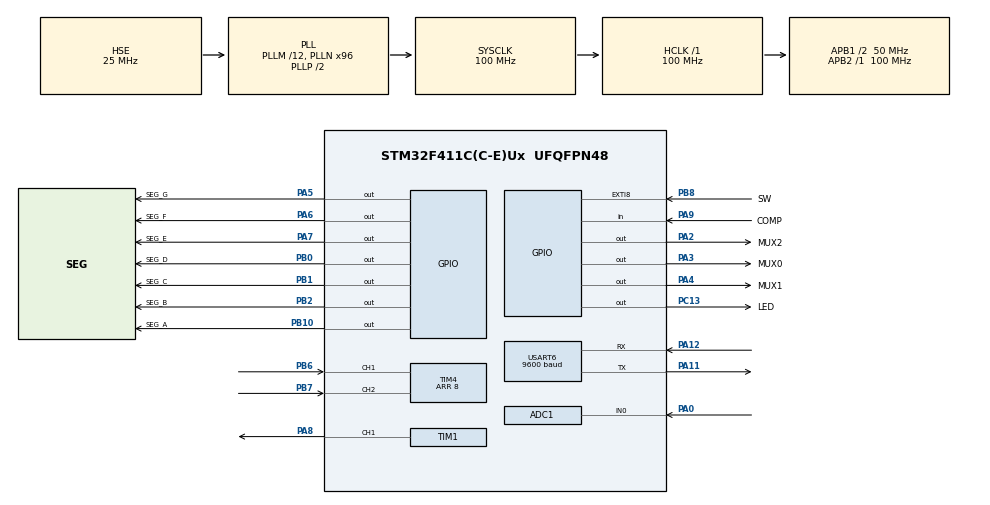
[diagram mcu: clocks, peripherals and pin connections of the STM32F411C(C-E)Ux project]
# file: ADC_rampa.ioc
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ADC1.NbrOfConversion=1
ADC1.NbrOfConversionFlag=1
ADC1.Resolution=ADC_RESOLUTION_8B
ADC1.master=1
Mcu.Family=STM32F4
Mcu.Name=STM32F411C(C-E)Ux
Mcu.Package=UFQFPN48
NVIC.EXTI9_5_IRQn=true\:0\:0\:false\:false\:true\:true\:true\:true
NVIC.PriorityGroup=NVIC_PRIORITYGROUP_4
NVIC.TIM1_TRG_COM_TIM11_IRQn=true\:0\:0\:false\:false\:true\:true\:true\:true
NVIC.TIM3_IRQn=true\:0\:0\:false\:false\:true\:true\:true\:true
PA0-WKUP.Signal=ADCx_IN0
PA11.Mode=Asynchronous
PA11.Signal=USART6_TX
PA12.Mode=Asynchronous
PA12.Signal=USART6_RX
PA13.Mode=Serial_Wire
PA13.Signal=SYS_JTMS-SWDIO
PA14.Mode=Serial_Wire
PA14.Signal=SYS_JTCK-SWCLK
PA2.GPIO_Label=MUX2
PA2.Signal=GPIO_Output
PA3.GPIO_Label=MUX0
PA3.Signal=GPIO_Output
PA4.GPIO_Label=MUX1
PA4.Signal=GPIO_Output
PA5.GPIO_Label=SEG_G
PA5.Signal=GPIO_Output
PA6.GPIO_Label=SEG_F
PA6.Signal=GPIO_Output
PA7.GPIO_Label=SEG_E
PA7.Signal=GPIO_Output
PA8.Signal=S_TIM1_CH1
PA9.GPIO_Label=COMP
PA9.Signal=GPIO_Input
PB0.GPIO_Label=SEG_D
PB0.Signal=GPIO_Output
PB1.GPIO_Label=SEG_C
PB1.Signal=GPIO_Output
PB10.GPIO_Label=SEG_A
PB10.Signal=GPIO_Output
PB2.GPIO_Label=SEG_B
PB2.Signal=GPIO_Output
PB6.Signal=S_TIM4_CH1
PB7.Signal=S_TIM4_CH2
PB8.GPIO_Label=SW
PB8.Signal=GPXTI8
PC13-ANTI_TAMP.GPIO_Label=LED
PC13-ANTI_TAMP.Signal=GPIO_Output
PH0\ -\ OSC_IN.Mode=HSE-External-Oscillator
PH0\ -\ OSC_IN.Signal=RCC_OSC_IN
PH1\ -\ OSC_OUT.Mode=HSE-External-Oscillator
PH1\ -\ OSC_OUT.Signal=RCC_OSC_OUT
ProjectManager.HeapSize=0x200
ProjectManager.StackSize=0x400
ProjectManager.TargetToolchain=STM32CubeIDE
RCC.48MHZClocksFreq_Value=50000000
RCC.AHBFreq_Value=100000000
RCC.APB1CLKDivider=RCC_HCLK_DIV2
RCC.APB1Freq_Value=50000000
RCC.APB1TimFreq_Value=100000000
RCC.APB2Freq_Value=100000000
RCC.APB2TimFreq_Value=100000000
RCC.CortexFreq_Value=100000000
RCC.HCLKFreq_Value=100000000
RCC.HSE_VALUE=25000000
RCC.HSI_VALUE=16000000
RCC.LSE_VALUE=32768
RCC.PLLM=12
RCC.PLLN=96
RCC.PLLSourceVirtual=RCC_PLLSOURCE_HSE
RCC.SYSCLKFreq_VALUE=100000000
RCC.SYSCLKSource=RCC_SYSCLKSOURCE_PLLCLK
RCC.VCOOutputFreq_Value=200000000
SH.ADCx_IN0.0=ADC1_IN0,IN0
SH.S_TIM1_CH1.0=TIM1_CH1,PWM Generation1 CH1
SH.S_TIM4_CH1.0=TIM4_CH1,Encoder_Interface
SH.S_TIM4_CH2.0=TIM4_CH2,Encoder_Interface
TIM1.AutoReloadPreload=TIM_AUTORELOAD_PRELOAD_ENABLE
TIM1.Channel-PWM\ Generation1\ CH1=TIM_CHANNEL_1
TIM1.Period=254-1
TIM1.Prescaler=100-1
TIM2.Period=0xffff-1
TIM2.Prescaler=100-1
TIM3.Period=19+1
TIM3.Prescaler=49999+1
TIM4.EncoderMode=TIM_ENCODERMODE_TI12
TIM4.IC1Filter=10
TIM4.IC2Filter=10
TIM4.Period=8
USART6.BaudRate=9600
USART6.Mode=MODE_TX
USART6.VirtualMode=VM_ASYNC
VP_TIM1_VS_ClockSourceINT.Mode=Internal
VP_TIM2_VS_ClockSourceINT.Mode=Internal
VP_TIM3_VS_ClockSourceINT.Mode=Internal
board=custom

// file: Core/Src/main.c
/* USER CODE BEGIN Header */
/**
  ******************************************************************************
  * @file           : main.c
  * @brief          : Main program body
  ******************************************************************************
  * @attention
  *
  * Copyright (c) 2024 STMicroelectronics.
  * All rights reserved.
  *
  * This software is licensed under terms that can be found in the LICENSE file
  * in the root directory of this software component.
  * If no LICENSE file comes with this software, it is provided AS-IS.
  *
  ******************************************************************************
  */
/* USER CODE END Header */
#include "main.h"

/* USER CODE BEGIN Includes */
#include <stdio.h>
#include <string.h>

#include "Seg7_mux.h"
#include "stdbool.h"
/* USER CODE END Includes */

ADC_HandleTypeDef hadc1;

TIM_HandleTypeDef htim1;
TIM_HandleTypeDef htim2;
TIM_HandleTypeDef htim3;
TIM_HandleTypeDef htim4;

UART_HandleTypeDef huart6;

void SystemClock_Config(void);
static void MX_GPIO_Init(void);
static void MX_TIM1_Init(void);
static void MX_TIM4_Init(void);
static void MX_USART6_UART_Init(void);
static void MX_TIM2_Init(void);
static void MX_TIM3_Init(void);
static void MX_ADC1_Init(void);
/* USER CODE BEGIN PFP */
uint8_t convert(); //Realiza el algoritmo de ADC SAR
uint8_t represent(uint8_t num); //consigue la representacion decimal
void delay_us(uint16_t us); //delay por us
/* USER CODE END PFP */

/* USER CODE BEGIN 0 */

/*
 * Bandera de interrupcion para el
 * modo interrupcion del adc
 */
bool flag = false;
//valor leido del adc
uint8_t adc_sar = 0;
/* USER CODE END 0 */

int main(void)
{

  /* MCU Configuration--------------------------------------------------------*/

  /* Reset of all peripherals, Initializes the Flash interface and the Systick. */
  HAL_Init();

  /* Configure the system clock */
  SystemClock_Config();

  /* Initialize all configured peripherals */
  MX_GPIO_Init();
  MX_TIM1_Init();
  MX_TIM4_Init();
  MX_USART6_UART_Init();
  MX_TIM2_Init();
  MX_TIM3_Init();
  MX_ADC1_Init();
  /* USER CODE BEGIN 2 */

  //Contador del encoder
  uint8_t count = 0;
  //valor real del dac del mcu
  uint8_t adc_real = 0;
  //valor medido en 8bits del adc implementado
  uint8_t adc_med = 0;
  //mag por uart
  char msg[10] = {0};

  //incializamos el pwm
  HAL_TIM_PWM_Start(&htim1, TIM_CHANNEL_1);
  //incializamos el encoder
  HAL_TIM_Encoder_Start(&htim4, TIM_CHANNEL_ALL);
  //Inicializamos el timer para el delay de us
  HAL_TIM_Base_Start(&htim2);
  //Inicializacion de timer con interrupcion
  HAL_TIM_Base_Start_IT(&htim3);

  /* USER CODE END 2 */

  /* Infinite loop */
  while (1)
  {

    /* USER CODE BEGIN 3 */

	show_num(adc_sar);

	count = TIM4->CNT/4;

	//Estados del adc
	switch (count) {
		case 0://Modo continuo

			HAL_GPIO_WritePin(LED_GPIO_Port,LED_Pin,SET);
			adc_med = convert();
			adc_sar = represent(adc_med);

			HAL_ADC_Start(&hadc1);
			if(HAL_ADC_PollForConversion(&hadc1, 100) == HAL_OK){
				adc_real = HAL_ADC_GetValue(&hadc1);//adc del micro
				sprintf(msg,"%d %d\r\n",adc_real,adc_med);
				HAL_UART_Transmit(&huart6,(uint8_t*)msg, 10, 100);
			}

			break;
		case 1://Modo por interrupcion

			HAL_GPIO_WritePin(LED_GPIO_Port,LED_Pin,RESET);
			if (flag) {
				adc_med = convert();
				adc_sar = represent(adc_med);
				HAL_ADC_Start(&hadc1);
				if(HAL_ADC_PollForConversion(&hadc1, 100) == HAL_OK){
					adc_real = HAL_ADC_GetValue(&hadc1);//adc del micro
					sprintf(msg,"%d %d\r\n",adc_real,adc_med);
					HAL_UART_Transmit(&huart6,(uint8_t*)msg, 10, 100);
				}

				flag = false;
			}

			break;
		case 2://idle No chambea

			adc_sar = 99;

			break;
		default:
			break;
	}

  }
  /* USER CODE END 3 */
}

void SystemClock_Config(void)
{
  RCC_OscInitTypeDef RCC_OscInitStruct = {0};
  RCC_ClkInitTypeDef RCC_ClkInitStruct = {0};

  /** Configure the main internal regulator output voltage
  */
  __HAL_RCC_PWR_CLK_ENABLE();
  __HAL_PWR_VOLTAGESCALING_CONFIG(PWR_REGULATOR_VOLTAGE_SCALE1);

  /** Initializes the RCC Oscillators according to the specified parameters
  * in the RCC_OscInitTypeDef structure.
  */
  RCC_OscInitStruct.OscillatorType = RCC_OSCILLATORTYPE_HSE;
  RCC_OscInitStruct.HSEState = RCC_HSE_ON;
  RCC_OscInitStruct.PLL.PLLState = RCC_PLL_ON;
  RCC_OscInitStruct.PLL.PLLSource = RCC_PLLSOURCE_HSE;
  RCC_OscInitStruct.PLL.PLLM = 12;
  RCC_OscInitStruct.PLL.PLLN = 96;
  RCC_OscInitStruct.PLL.PLLP = RCC_PLLP_DIV2;
  RCC_OscInitStruct.PLL.PLLQ = 4;
  if (HAL_RCC_OscConfig(&RCC_OscInitStruct) != HAL_OK)
  {
    Error_Handler();
  }

  /** Initializes the CPU, AHB and APB buses clocks
  */
  RCC_ClkInitStruct.ClockType = RCC_CLOCKTYPE_HCLK|RCC_CLOCKTYPE_SYSCLK
                              |RCC_CLOCKTYPE_PCLK1|RCC_CLOCKTYPE_PCLK2;
  RCC_ClkInitStruct.SYSCLKSource = RCC_SYSCLKSOURCE_PLLCLK;
  RCC_ClkInitStruct.AHBCLKDivider = RCC_SYSCLK_DIV1;
  RCC_ClkInitStruct.APB1CLKDivider = RCC_HCLK_DIV2;
  RCC_ClkInitStruct.APB2CLKDivider = RCC_HCLK_DIV1;

  if (HAL_RCC_ClockConfig(&RCC_ClkInitStruct, FLASH_LATENCY_3) != HAL_OK)
  {
    Error_Handler();
  }
}

static void MX_ADC1_Init(void)
{

  ADC_ChannelConfTypeDef sConfig = {0};

  /** Configure the global features of the ADC (Clock, Resolution, Data Alignment and number of conversion)
  */
  hadc1.Instance = ADC1;
  hadc1.Init.ClockPrescaler = ADC_CLOCK_SYNC_PCLK_DIV4;
  hadc1.Init.Resolution = ADC_RESOLUTION_8B;
  hadc1.Init.ScanConvMode = DISABLE;
  hadc1.Init.ContinuousConvMode = DISABLE;
  hadc1.Init.DiscontinuousConvMode = DISABLE;
  hadc1.Init.ExternalTrigConvEdge = ADC_EXTERNALTRIGCONVEDGE_NONE;
  hadc1.Init.ExternalTrigConv = ADC_SOFTWARE_START;
  hadc1.Init.DataAlign = ADC_DATAALIGN_RIGHT;
  hadc1.Init.NbrOfConversion = 1;
  hadc1.Init.DMAContinuousRequests = DISABLE;
  hadc1.Init.EOCSelection = ADC_EOC_SINGLE_CONV;
  if (HAL_ADC_Init(&hadc1) != HAL_OK)
  {
    Error_Handler();
  }

  /** Configure for the selected ADC regular channel its corresponding rank in the sequencer and its sample time.
  */
  sConfig.Channel = ADC_CHANNEL_0;
  sConfig.Rank = 1;
  sConfig.SamplingTime = ADC_SAMPLETIME_3CYCLES;
  if (HAL_ADC_ConfigChannel(&hadc1, &sConfig) != HAL_OK)
  {
    Error_Handler();
  }

}

static void MX_TIM1_Init(void)
{

  TIM_ClockConfigTypeDef sClockSourceConfig = {0};
  TIM_MasterConfigTypeDef sMasterConfig = {0};
  TIM_OC_InitTypeDef sConfigOC = {0};
  TIM_BreakDeadTimeConfigTypeDef sBreakDeadTimeConfig = {0};

  htim1.Instance = TIM1;
  htim1.Init.Prescaler = 100-1;
  htim1.Init.CounterMode = TIM_COUNTERMODE_UP;
  htim1.Init.Period = 254-1;
  htim1.Init.ClockDivision = TIM_CLOCKDIVISION_DIV1;
  htim1.Init.RepetitionCounter = 0;
  htim1.Init.AutoReloadPreload = TIM_AUTORELOAD_PRELOAD_ENABLE;
  if (HAL_TIM_Base_Init(&htim1) != HAL_OK)
  {
    Error_Handler();
  }
  sClockSourceConfig.ClockSource = TIM_CLOCKSOURCE_INTERNAL;
  if (HAL_TIM_ConfigClockSource(&htim1, &sClockSourceConfig) != HAL_OK)
  {
    Error_Handler();
  }
  if (HAL_TIM_PWM_Init(&htim1) != HAL_OK)
  {
    Error_Handler();
  }
  sMasterConfig.MasterOutputTrigger = TIM_TRGO_RESET;
  sMasterConfig.MasterSlaveMode = TIM_MASTERSLAVEMODE_DISABLE;
  if (HAL_TIMEx_MasterConfigSynchronization(&htim1, &sMasterConfig) != HAL_OK)
  {
    Error_Handler();
  }
  sConfigOC.OCMode = TIM_OCMODE_PWM1;
  sConfigOC.Pulse = 0;
  sConfigOC.OCPolarity = TIM_OCPOLARITY_HIGH;
  sConfigOC.OCNPolarity = TIM_OCNPOLARITY_HIGH;
  sConfigOC.OCFastMode = TIM_OCFAST_DISABLE;
  sConfigOC.OCIdleState = TIM_OCIDLESTATE_RESET;
  sConfigOC.OCNIdleState = TIM_OCNIDLESTATE_RESET;
  if (HAL_TIM_PWM_ConfigChannel(&htim1, &sConfigOC, TIM_CHANNEL_1) != HAL_OK)
  {
    Error_Handler();
  }
  sBreakDeadTimeConfig.OffStateRunMode = TIM_OSSR_DISABLE;
  sBreakDeadTimeConfig.OffStateIDLEMode = TIM_OSSI_DISABLE;
  sBreakDeadTimeConfig.LockLevel = TIM_LOCKLEVEL_OFF;
  sBreakDeadTimeConfig.DeadTime = 0;
  sBreakDeadTimeConfig.BreakState = TIM_BREAK_DISABLE;
  sBreakDeadTimeConfig.BreakPolarity = TIM_BREAKPOLARITY_HIGH;
  sBreakDeadTimeConfig.AutomaticOutput = TIM_AUTOMATICOUTPUT_DISABLE;
  if (HAL_TIMEx_ConfigBreakDeadTime(&htim1, &sBreakDeadTimeConfig) != HAL_OK)
  {
    Error_Handler();
  }
  HAL_TIM_MspPostInit(&htim1);

}

static void MX_TIM2_Init(void)
{

  TIM_ClockConfigTypeDef sClockSourceConfig = {0};
  TIM_MasterConfigTypeDef sMasterConfig = {0};

  htim2.Instance = TIM2;
  htim2.Init.Prescaler = 100-1;
  htim2.Init.CounterMode = TIM_COUNTERMODE_UP;
  htim2.Init.Period = 0xffff-1;
  htim2.Init.ClockDivision = TIM_CLOCKDIVISION_DIV1;
  htim2.Init.AutoReloadPreload = TIM_AUTORELOAD_PRELOAD_DISABLE;
  if (HAL_TIM_Base_Init(&htim2) != HAL_OK)
  {
    Error_Handler();
  }
  sClockSourceConfig.ClockSource = TIM_CLOCKSOURCE_INTERNAL;
  if (HAL_TIM_ConfigClockSource(&htim2, &sClockSourceConfig) != HAL_OK)
  {
    Error_Handler();
  }
  sMasterConfig.MasterOutputTrigger = TIM_TRGO_RESET;
  sMasterConfig.MasterSlaveMode = TIM_MASTERSLAVEMODE_DISABLE;
  if (HAL_TIMEx_MasterConfigSynchronization(&htim2, &sMasterConfig) != HAL_OK)
  {
    Error_Handler();
  }

}

static void MX_TIM3_Init(void)
{

  TIM_ClockConfigTypeDef sClockSourceConfig = {0};
  TIM_MasterConfigTypeDef sMasterConfig = {0};

  htim3.Instance = TIM3;
  htim3.Init.Prescaler = 49999+1;
  htim3.Init.CounterMode = TIM_COUNTERMODE_UP;
  htim3.Init.Period = 19+1;
  htim3.Init.ClockDivision = TIM_CLOCKDIVISION_DIV1;
  htim3.Init.AutoReloadPreload = TIM_AUTORELOAD_PRELOAD_DISABLE;
  if (HAL_TIM_Base_Init(&htim3) != HAL_OK)
  {
    Error_Handler();
  }
  sClockSourceConfig.ClockSource = TIM_CLOCKSOURCE_INTERNAL;
  if (HAL_TIM_ConfigClockSource(&htim3, &sClockSourceConfig) != HAL_OK)
  {
    Error_Handler();
  }
  sMasterConfig.MasterOutputTrigger = TIM_TRGO_RESET;
  sMasterConfig.MasterSlaveMode = TIM_MASTERSLAVEMODE_DISABLE;
  if (HAL_TIMEx_MasterConfigSynchronization(&htim3, &sMasterConfig) != HAL_OK)
  {
    Error_Handler();
  }

}

static void MX_TIM4_Init(void)
{

  TIM_Encoder_InitTypeDef sConfig = {0};
  TIM_MasterConfigTypeDef sMasterConfig = {0};

  htim4.Instance = TIM4;
  htim4.Init.Prescaler = 0;
  htim4.Init.CounterMode = TIM_COUNTERMODE_UP;
  htim4.Init.Period = 8;
  htim4.Init.ClockDivision = TIM_CLOCKDIVISION_DIV1;
  htim4.Init.AutoReloadPreload = TIM_AUTORELOAD_PRELOAD_DISABLE;
  sConfig.EncoderMode = TIM_ENCODERMODE_TI12;
  sConfig.IC1Polarity = TIM_ICPOLARITY_RISING;
  sConfig.IC1Selection = TIM_ICSELECTION_DIRECTTI;
  sConfig.IC1Prescaler = TIM_ICPSC_DIV1;
  sConfig.IC1Filter = 10;
  sConfig.IC2Polarity = TIM_ICPOLARITY_RISING;
  sConfig.IC2Selection = TIM_ICSELECTION_DIRECTTI;
  sConfig.IC2Prescaler = TIM_ICPSC_DIV1;
  sConfig.IC2Filter = 10;
  if (HAL_TIM_Encoder_Init(&htim4, &sConfig) != HAL_OK)
  {
    Error_Handler();
  }
  sMasterConfig.MasterOutputTrigger = TIM_TRGO_RESET;
  sMasterConfig.MasterSlaveMode = TIM_MASTERSLAVEMODE_DISABLE;
  if (HAL_TIMEx_MasterConfigSynchronization(&htim4, &sMasterConfig) != HAL_OK)
  {
    Error_Handler();
  }

}

static void MX_USART6_UART_Init(void)
{

  huart6.Instance = USART6;
  huart6.Init.BaudRate = 9600;
  huart6.Init.WordLength = UART_WORDLENGTH_8B;
  huart6.Init.StopBits = UART_STOPBITS_1;
  huart6.Init.Parity = UART_PARITY_NONE;
  huart6.Init.Mode = UART_MODE_TX;
  huart6.Init.HwFlowCtl = UART_HWCONTROL_NONE;
  huart6.Init.OverSampling = UART_OVERSAMPLING_16;
  if (HAL_UART_Init(&huart6) != HAL_OK)
  {
    Error_Handler();
  }

}

static void MX_GPIO_Init(void)
{
  GPIO_InitTypeDef GPIO_InitStruct = {0};

  /* GPIO Ports Clock Enable */
  __HAL_RCC_GPIOC_CLK_ENABLE();
  __HAL_RCC_GPIOH_CLK_ENABLE();
  __HAL_RCC_GPIOA_CLK_ENABLE();
  __HAL_RCC_GPIOB_CLK_ENABLE();

  /*Configure GPIO pin Output Level */
  HAL_GPIO_WritePin(LED_GPIO_Port, LED_Pin, GPIO_PIN_RESET);

  /*Configure GPIO pin Output Level */
  HAL_GPIO_WritePin(GPIOA, MUX2_Pin|MUX0_Pin|MUX1_Pin|SEG_G_Pin
                          |SEG_F_Pin|SEG_E_Pin, GPIO_PIN_RESET);

  /*Configure GPIO pin Output Level */
  HAL_GPIO_WritePin(GPIOB, SEG_D_Pin|SEG_C_Pin|SEG_B_Pin|SEG_A_Pin, GPIO_PIN_RESET);

  /*Configure GPIO pin : LED_Pin */
  GPIO_InitStruct.Pin = LED_Pin;
  GPIO_InitStruct.Mode = GPIO_MODE_OUTPUT_PP;
  GPIO_InitStruct.Pull = GPIO_NOPULL;
  GPIO_InitStruct.Speed = GPIO_SPEED_FREQ_LOW;
  HAL_GPIO_Init(LED_GPIO_Port, &GPIO_InitStruct);

  /*Configure GPIO pins : MUX2_Pin MUX0_Pin MUX1_Pin SEG_G_Pin
                           SEG_F_Pin SEG_E_Pin */
  GPIO_InitStruct.Pin = MUX2_Pin|MUX0_Pin|MUX1_Pin|SEG_G_Pin
                          |SEG_F_Pin|SEG_E_Pin;
  GPIO_InitStruct.Mode = GPIO_MODE_OUTPUT_PP;
  GPIO_InitStruct.Pull = GPIO_NOPULL;
  GPIO_InitStruct.Speed = GPIO_SPEED_FREQ_LOW;
  HAL_GPIO_Init(GPIOA, &GPIO_InitStruct);

  /*Configure GPIO pins : SEG_D_Pin SEG_C_Pin SEG_B_Pin SEG_A_Pin */
  GPIO_InitStruct.Pin = SEG_D_Pin|SEG_C_Pin|SEG_B_Pin|SEG_A_Pin;
  GPIO_InitStruct.Mode = GPIO_MODE_OUTPUT_PP;
  GPIO_InitStruct.Pull = GPIO_NOPULL;
  GPIO_InitStruct.Speed = GPIO_SPEED_FREQ_LOW;
  HAL_GPIO_Init(GPIOB, &GPIO_InitStruct);

  /*Configure GPIO pin : COMP_Pin */
  GPIO_InitStruct.Pin = COMP_Pin;
  GPIO_InitStruct.Mode = GPIO_MODE_INPUT;
  GPIO_InitStruct.Pull = GPIO_NOPULL;
  HAL_GPIO_Init(COMP_GPIO_Port, &GPIO_InitStruct);

  /*Configure GPIO pin : SW_Pin */
  GPIO_InitStruct.Pin = SW_Pin;
  GPIO_InitStruct.Mode = GPIO_MODE_IT_RISING;
  GPIO_InitStruct.Pull = GPIO_NOPULL;
  HAL_GPIO_Init(SW_GPIO_Port, &GPIO_InitStruct);

  /* EXTI interrupt init*/
  HAL_NVIC_SetPriority(EXTI9_5_IRQn, 0, 0);
  HAL_NVIC_EnableIRQ(EXTI9_5_IRQn);

}

/* USER CODE BEGIN 4 */

/* USER CODE BEGIN 4 */
uint8_t convert(){

	bool end_conv = false;
	/*****************************
	 * Empezamos ADC rampa
	 *****************************/
	uint8_t contador = 0;

	do
	{
		__HAL_TIM_SET_COMPARE(&htim1,TIM_CHANNEL_1,contador);

		if (HAL_GPIO_ReadPin(COMP_GPIO_Port, COMP_Pin) == 1)
		{//Es DAC>Vs?
			end_conv = true;
		}

		if(contador >=255){
			end_conv = true;
		}else{
			delay_us(75);
			contador++;
		}

	}while(!end_conv);

	__HAL_TIM_SET_COMPARE(&htim1,TIM_CHANNEL_1,0);
	return contador;//regresamo el valor leido
}

uint8_t represent(uint8_t num){
	float volt = ((float)num) * (3.3/254.0); //voltaje leido
	volt = ((float)(int)(volt*10))/10; //ahora solo tiene un decimal

	/*
	uint8_t base = (int)volt;
	uint8_t mantisa = (volt-base)*10;
	*/

	return (uint8_t)(volt*10);
}

void HAL_GPIO_EXTI_Callback(uint16_t GPIO_Pin){
	flag = true;
}

void delay_us (uint16_t us)
{
	__HAL_TIM_SET_COUNTER(&htim2,0);  // set the counter value a 0
	while (__HAL_TIM_GET_COUNTER(&htim2) < us);  // wait for the counter to reach the us input in the parameter
}

void HAL_TIM_PeriodElapsedCallback(TIM_HandleTypeDef* htim)
{
	show_num(adc_sar);
}

/* USER CODE END 4 */

void Error_Handler(void)
{
  __disable_irq();
  while (1)
  {
  }
}
